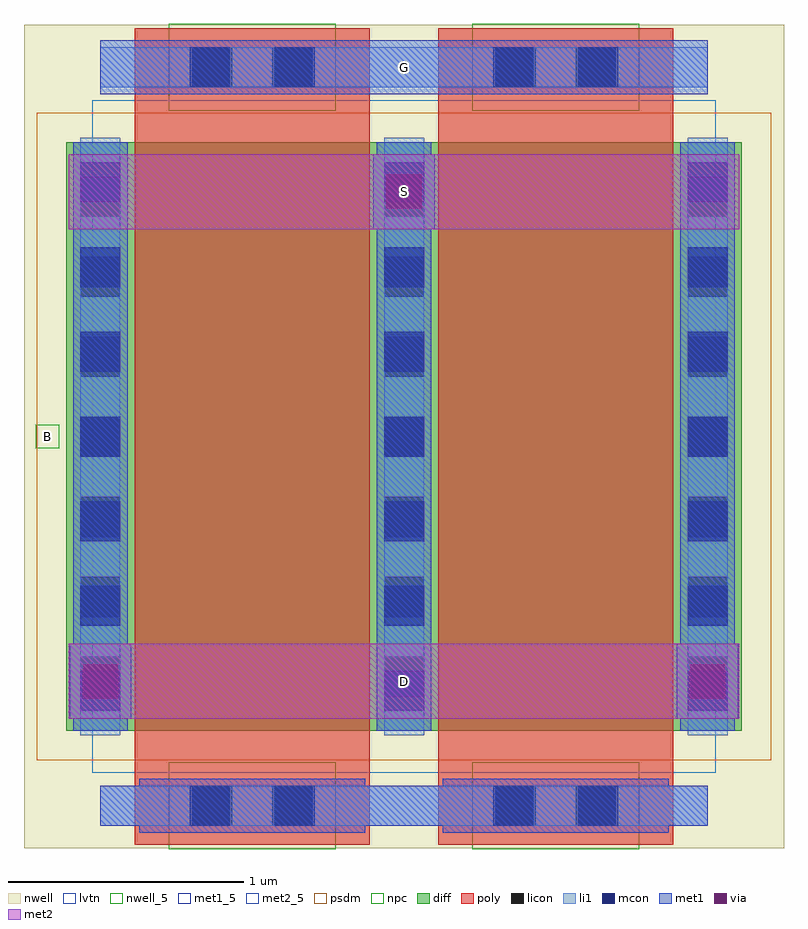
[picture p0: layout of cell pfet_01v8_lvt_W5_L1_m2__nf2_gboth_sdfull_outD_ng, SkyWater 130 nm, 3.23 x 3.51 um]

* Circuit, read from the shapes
.subckt pfet_01v8_lvt_W5_L1_m2__nf2_gboth_sdfull_outD_ng B D G S
XM1 S G D B sky130_fd_pr__pfet_01v8_lvt w=2.5 l=1 m=2
.ends

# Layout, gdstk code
import gdstk
lib = gdstk.Library(unit=1e-6, precision=1e-09)
def R(c, l, rs):  # rectangles x0, y0, x1, y1
    for r in rs: c.add(gdstk.rectangle(r[:2], r[2:], *l))
def A(c, l, x, y, w, h, nx, ny, dx, dy):  # array of equal rectangles
    R(c, l, [(x+i*dx, y+j*dy, x+i*dx+w, y+j*dy+h) for i in range(nx) for j in range(ny)])
nwell_5 = (64, 5)
nwell = (64, 20)
diff = (65, 20)
poly = (66, 20)
licon = (66, 44)
li1 = (67, 20)
mcon = (67, 44)
met1_5 = (68, 5)
met1 = (68, 20)
via = (68, 44)
met2_5 = (69, 5)
met2 = (69, 20)
psdm = (94, 20)
npc = (95, 20)
lvtn = (125, 44)

sky130_fd_pr__pfet_01v8_ = lib.new_cell('sky130_fd_pr__pfet_01v8_lvt_LNMMPV')
R(sky130_fd_pr__pfet_01v8_, nwell, [(-1.615,-1.75,1.615,1.75)])
R(sky130_fd_pr__pfet_01v8_, diff, [(-1.435,-1.25,1.435,1.25)])
R(sky130_fd_pr__pfet_01v8_, poly, [(-1.145,-1.735,-0.145,1.735), (0.145,-1.735,1.145,1.735)])
A(sky130_fd_pr__pfet_01v8_, licon, -1.375, -1.105, 0.17, 0.17, 3, 7, 1.29, 0.34)
R(sky130_fd_pr__pfet_01v8_, licon, [(-0.9,-1.655,-0.73,-1.485), (-0.56,-1.655,-0.39,-1.485), (0.39,-1.655,0.56,-1.485), (0.73,-1.655,0.9,-1.485), (-0.9,1.485,-0.73,1.655), (-0.56,1.485,-0.39,1.655), (0.39,1.485,0.56,1.655), (0.73,1.485,0.9,1.655)])
A(sky130_fd_pr__pfet_01v8_, li1, -1.375, -1.27, 0.17, 2.54, 3, 1, 1.29, 0)
R(sky130_fd_pr__pfet_01v8_, li1, [(-1.29,-1.655,1.29,-1.485), (-1.29,1.485,1.29,1.655)])
A(sky130_fd_pr__pfet_01v8_, mcon, -1.375, -1.165, 0.17, 0.17, 3, 7, 1.29, 0.36)
R(sky130_fd_pr__pfet_01v8_, mcon, [(-0.91,-1.655,-0.74,-1.485), (-0.55,-1.655,-0.38,-1.485), (0.38,-1.655,0.55,-1.485), (0.74,-1.655,0.91,-1.485), (-0.91,1.485,-0.74,1.655), (-0.55,1.485,-0.38,1.655), (0.38,1.485,0.55,1.655), (0.74,1.485,0.91,1.655)])
A(sky130_fd_pr__pfet_01v8_, met1, -1.405, -1.25, 0.23, 2.5, 3, 1, 1.29, 0)
R(sky130_fd_pr__pfet_01v8_, met1, [(-1.125,-1.685,-0.165,-1.655), (0.165,-1.685,1.125,-1.655), (-1.29,-1.655,1.29,-1.485), (-1.125,-1.485,-0.165,-1.455), (0.165,-1.485,1.125,-1.455), (-1.125,1.455,-0.165,1.485), (0.165,1.455,1.125,1.485), (-1.29,1.485,1.29,1.655), (-1.125,1.655,-0.165,1.685), (0.165,1.655,1.125,1.685)])
R(sky130_fd_pr__pfet_01v8_, psdm, [(-1.56,-1.375,1.56,1.375)])
R(sky130_fd_pr__pfet_01v8_, npc, [(-1,-1.755,-0.29,-1.385), (0.29,-1.755,1,-1.385), (-1,1.385,-0.29,1.755), (0.29,1.385,1,1.755)])
R(sky130_fd_pr__pfet_01v8_, lvtn, [(-1.325,-1.43,1.325,1.43)])
sky130_fd_pr__pfet_01v8_.add(gdstk.Label('D0', (-1.29,0), layer=67, texttype=5))
sky130_fd_pr__pfet_01v8_.add(gdstk.Label('G', (0.645,1.57), layer=67, texttype=5))
sky130_fd_pr__pfet_01v8_.add(gdstk.Label('G', (-0.645,1.57), layer=67, texttype=5))
sky130_fd_pr__pfet_01v8_.add(gdstk.Label('S1', (0,0), layer=67, texttype=5))

pfet_01v8_lvt_w5_l1_m2__ = lib.new_cell('pfet_01v8_lvt_W5_L1_m2__nf2_gboth_sdfull_outD_ng')
R(pfet_01v8_lvt_w5_l1_m2__, nwell_5, [(0.05,1.7,0.15,1.8)])
R(pfet_01v8_lvt_w5_l1_m2__, nwell, [(0.05,1.7,0.15,1.8)])
R(pfet_01v8_lvt_w5_l1_m2__, met1_5, [(0.325,3.205,2.905,3.435)])
R(pfet_01v8_lvt_w5_l1_m2__, met1, [(0.195,0.55,0.455,0.87), (2.775,0.55,3.035,0.87), (1.485,2.63,1.745,2.95), (0.325,3.205,2.905,3.435)])
R(pfet_01v8_lvt_w5_l1_m2__, via, [(0.25,0.635,0.4,0.785), (2.83,0.635,2.98,0.785), (1.54,2.715,1.69,2.865)])
R(pfet_01v8_lvt_w5_l1_m2__, met2_5, [(0.19,0.55,3.04,0.87), (0.19,2.63,3.04,2.95)])
R(pfet_01v8_lvt_w5_l1_m2__, met2, [(0.19,0.55,3.04,0.87), (0.19,2.63,3.04,2.95)])
pfet_01v8_lvt_w5_l1_m2__.add(gdstk.Reference(sky130_fd_pr__pfet_01v8_, (1.615,1.75)))
pfet_01v8_lvt_w5_l1_m2__.add(gdstk.Label('S', (1.615,2.79), layer=69, texttype=5))
pfet_01v8_lvt_w5_l1_m2__.add(gdstk.Label('D', (1.615,0.71), layer=69, texttype=5))
pfet_01v8_lvt_w5_l1_m2__.add(gdstk.Label('G', (1.615,3.32), layer=68, texttype=5))
pfet_01v8_lvt_w5_l1_m2__.add(gdstk.Label('B', (0.1,1.75), layer=64, texttype=5))

lib.write_gds('pfet_01v8_lvt_W5_L1_m2__nf2_gboth_sdfull_outD_ng.gds')
